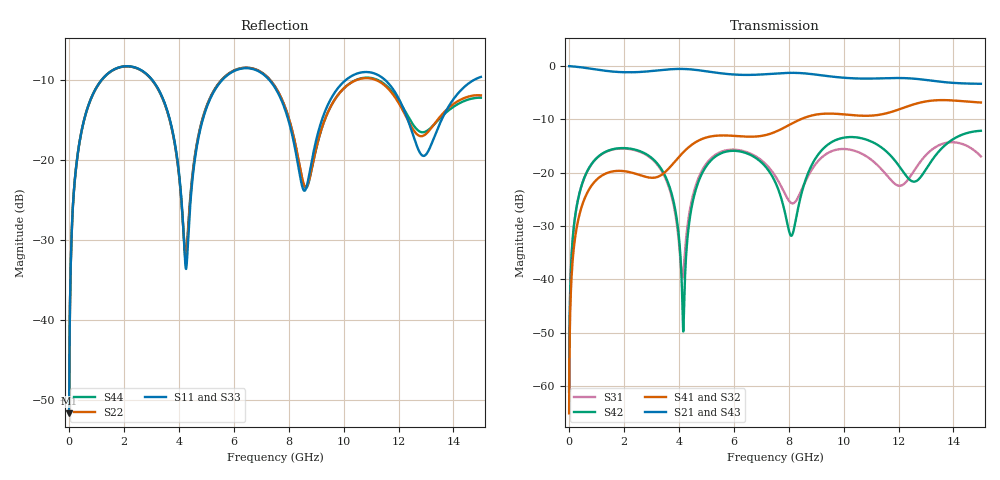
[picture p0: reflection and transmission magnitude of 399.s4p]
! Created with skrf 1.8.0 (http://scikit-rf.org).
# GHz S RI R 50.0
!freq ReS11 ImS11 ReS12 ImS12 ReS13 ImS13
! ReS14 ImS14
! ReS21 ImS21 ReS22 ImS22 ReS23 ImS23
! ReS24 ImS24
! ReS31 ImS31 ReS32 ImS32 ReS33 ImS33
! ReS34 ImS34
! ReS41 ImS41 ReS42 ImS42 ReS43 ImS43
! ReS44 ImS44
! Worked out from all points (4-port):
!   2499 points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, 5 MHz to 15 GHz, reference 50 ohm
!   strongest paths, dB at 5 MHz, 3.476 GHz, 7.19 GHz, 11.1 GHz, 15 GHz:
!     S21: 0.0, -0.7, -1.5, -2.3, -3.3
!     S43: 0.0, -0.7, -1.5, -2.4, -3.3
!     S41: -65.1, -20.0, -12.9, -9.3, -6.8
!     S32: -65.1, -20.0, -12.9, -9.3, -6.9
!     S42: -61.1, -20.3, -19.1, -14.4, -12.1
!     S31: -61.1, -20.6, -18.5, -17.9, -17.0
!   lowest |S11| = -51.6 dB at 5 MHz (marker M1), VSWR 1.01, Z = 50.2 + j0.159 ohm
!   |S11| at or under -10 dB: 3.043 GHz to 5.568 GHz (2.525 GHz wide, 58.6 % of centre); 7.308 GHz to 10.07 GHz (2.758 GHz wide, 31.7 % of centre); 11.53 GHz to 14.72 GHz (3.194 GHz wide, 24.3 % of centre) (the widest 3 of 4)
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0.005  0.0021 0.00158  0.9979 -0.00408  0.000108 0.000878  -0.000105 -0.000544
       0.9979 -0.00408  0.0021 0.00158  -0.000105 -0.000544  0.000109 0.000878
       0.000108 0.000878  -0.000105 -0.000544  0.0021 0.00158  0.9979 -0.00408
       -0.000105 -0.000544  0.000109 0.000878  0.9979 -0.00408  0.0021 0.00158
1.3193  0.2951 0.1623  0.49 -0.7591  0.1439 0.0593  -0.0976 0.00465
        0.49 -0.7591  0.2942 0.1631  -0.0975 0.00453  0.1464 0.0553
        0.1439 0.0593  -0.0975 0.00453  0.2951 0.1623  0.49 -0.7591
        -0.0976 0.00465  0.1464 0.0553  0.49 -0.7591  0.2941 0.1631
4.157982  0.0231 -0.0315  -0.9269 -0.1541  0.0107 0.00341  -0.0198 0.1539
          -0.9269 -0.1541  0.0262 -0.0285  -0.0216 0.1536  -0.00327 -6.32e-05
          0.0107 0.00341  -0.0216 0.1536  0.0215 -0.0306  -0.927 -0.1539
          -0.0198 0.1539  -0.00327 -6.32e-05  -0.927 -0.1539  0.0274 -0.0271
5.195915  0.1823 0.176  -0.7151 0.5102  0.1274 0.0534  0.1575 0.1529
          -0.7151 0.5102  0.1857 0.177  0.1555 0.1547  0.1192 0.0577
          0.1274 0.0534  0.1555 0.1547  0.1817 0.1782  -0.7149 0.5099
          0.1575 0.1529  0.1192 0.0577  -0.7149 0.5099  0.1875 0.1766
8.578574  0.0646 -0.00165  0.8437 0.1334  -0.0239 0.0758  0.0409 -0.3252
          0.8437 0.1334  0.0676 -0.0149  0.0474 -0.3242  0.0143 0.079
          -0.0239 0.0758  0.0474 -0.3242  0.065 0.000215  0.8435 0.1349
          0.0409 -0.3252  0.0143 0.079  0.8435 0.1349  0.0668 -0.0146
11.31722  0.3247 -0.0893  -0.1295 -0.7554  0.0394 -0.1049  -0.3361 0.0974
          -0.1295 -0.7554  0.3042 -0.0565  -0.338 0.0862  0.0452 -0.1711
          0.0394 -0.1049  -0.338 0.0862  0.33 -0.0921  -0.1249 -0.7544
          -0.3361 0.0974  0.0452 -0.1711  -0.1249 -0.7544  0.3092 -0.0516
15  0.3307 0.0321  -0.2361 0.6398  0.1326 -0.0509  0.4456 0.095
    -0.2361 0.6398  0.2548 0.00491  0.44 0.1128  0.1641 -0.1848
    0.1326 -0.0509  0.44 0.1128  0.3282 0.0313  -0.2448 0.6389
    0.4456 0.095  0.1641 -0.1848  -0.2448 0.6389  0.246 0.0112
